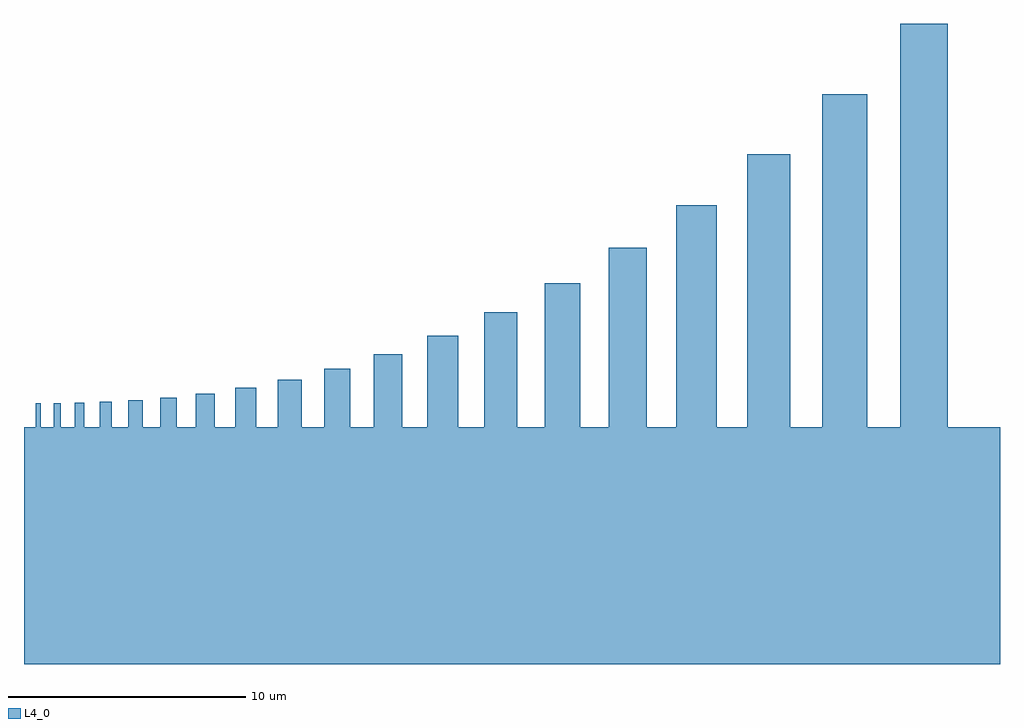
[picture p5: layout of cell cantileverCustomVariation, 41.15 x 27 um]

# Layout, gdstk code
import gdstk
lib = gdstk.Library(unit=1e-6, precision=1e-09)
def R(c, l, rs):  # rectangles x0, y0, x1, y1
    for r in rs: c.add(gdstk.rectangle(r[:2], r[2:], *l))
L4_0 = (4, 0)

cantilevercustomvariatio = lib.new_cell('cantileverCustomVariation')
R(cantilevercustomvariatio, L4_0, [(0,0,41.15,10), (0.5,10,0.7,11.002), (1.25,10,1.55,11.008), (2.15,10,2.55,11.026), (3.2,10,3.7,11.063), (4.4,10,5,11.13), (5.75,10,6.45,11.24), (7.25,10,8.05,11.41), (8.9,10,9.8,11.656), (10.7,10,11.7,12), (12.65,10,13.75,12.464), (14.75,10,15.95,13.074), (17,10,18.3,13.856), (19.4,10,20.8,14.842), (21.95,10,23.45,16.063), (24.65,10,26.25,17.554), (27.5,10,29.2,19.352), (30.5,10,32.3,21.498), (33.65,10,35.55,24.032), (36.95,10,38.95,27)])

lib.write_gds('cantileverCustomVariation.gds')
